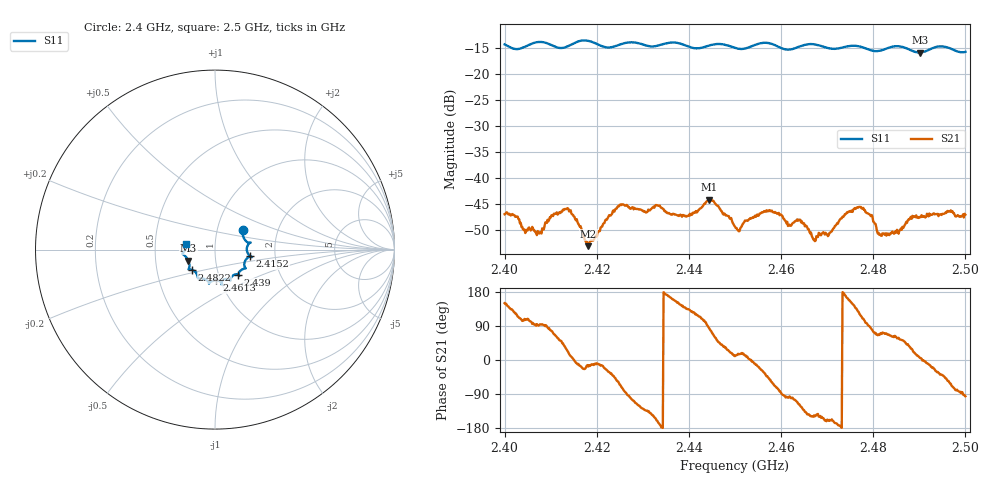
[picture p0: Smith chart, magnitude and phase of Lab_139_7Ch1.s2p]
# Hz S RI R 50
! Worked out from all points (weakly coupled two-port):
!   601 points, 2.4 GHz to 2.5 GHz, reference 50 ohm
!   highest |S21| = -44.12 dB at 2.4443 GHz (marker M1); lowest = -53.0 dB at 2.4182 GHz (marker M2)
!   lowest |S11| = -15.9 dB at 2.4902 GHz (marker M3), VSWR 1.38, Z = 36.8 - j4.63 ohm
!   |S11| at or under -10 dB: start of sweep to end of sweep
!   S12 and S22 are empty: the file has one direction only
!   S11 on the Smith chart (normalised r, x): 2.4 GHz: 1.33, +0.31; 2.4152 GHz: 1.48, -0.11; 2.439 GHz: 1.24, -0.36; 2.4613 GHz: 0.96, -0.34; 2.4822 GHz: 0.76, -0.17; 2.5 GHz: 0.72, +0.05
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2.4e9  0.1561 0.1113  -0.00391 0.00226  0 0  0 0
2.4075e9  0.1987 0.0387  -0.000118 0.00294  0 0  0 0
2.413167e9  0.1796 -0.0124  0.00425 0.00279  0 0  0 0
2.415167e9  0.1945 -0.0362  0.00426 -0.000143  0 0  0 0
2.416667e9  0.2042 -0.0421  0.00309 -0.00101  0 0  0 0
2.418167e9  0.2035 -0.0401  0.00213 -0.000656  0 0  0 0
2.425e9  0.1655 -0.0957  0.00231 -0.00506  0 0  0 0
2.4305e9  0.1531 -0.1098  -0.00323 -0.00353  0 0  0 0
2.433333e9  0.1329 -0.1319  -0.00527 -0.0014  0 0  0 0
2.439e9  0.1284 -0.139  -0.0033 0.00288  0 0  0 0
2.444333e9  0.0853 -0.1664  0.00054 0.0062  0 0  0 0
2.45e9  0.069 -0.1639  0.00338 0.00062  0 0  0 0
2.457333e9  0.0399 -0.1934  0.00323 -0.0036  0 0  0 0
2.461333e9  0.00758 -0.1707  -0.000529 -0.00378  0 0  0 0
2.464e9  -0.0267 -0.1812  -0.00183 -0.00355  0 0  0 0
2.466667e9  -0.0334 -0.1902  -0.0024 -0.00143  0 0  0 0
2.4705e9  -0.0478 -0.1691  -0.00277 -0.00112  0 0  0 0
2.476833e9  -0.0948 -0.1578  -0.00319 0.00423  0 0  0 0
2.482167e9  -0.1282 -0.1122  0.00093 0.00277  0 0  0 0
2.483333e9  -0.1395 -0.1106  0.00113 0.00272  0 0  0 0
2.490167e9  -0.1483 -0.0612  0.00421 0.00039  0 0  0 0
2.5e9  -0.159 0.0339  -0.000432 -0.00445  0 0  0 0
